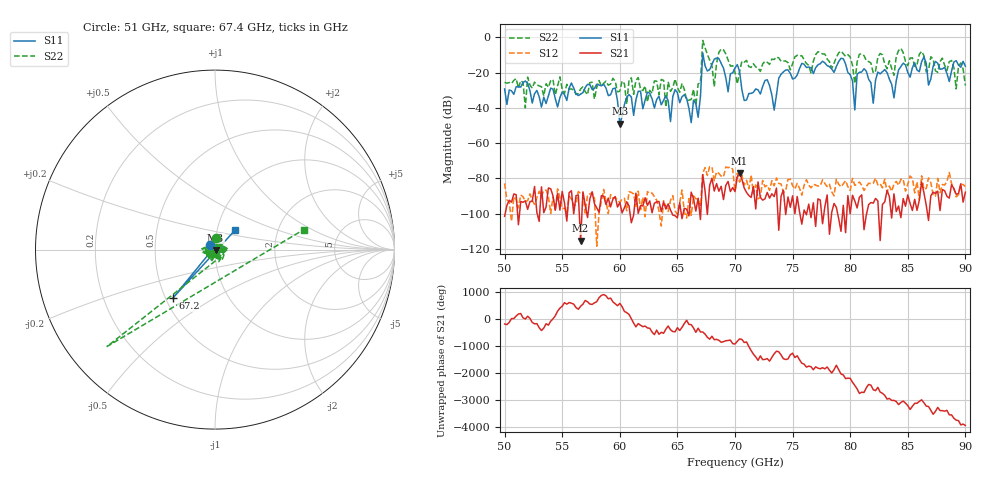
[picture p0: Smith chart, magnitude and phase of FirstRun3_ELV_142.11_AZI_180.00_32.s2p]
! 11/24/2026 3:41:09 PM
! C:\ANRITSUVNA\TEMP\TEMP.S2P
! CHANNEL.1
! TR.MEASUREMENT
! RAW.DATA
# HZ S RI R 50.0
! FREQ.HZ  S11RE  S11IM  S21RE  S21IM  S12RE  S12IM  S22RE  S22IM
!; PortSelection: Port_12
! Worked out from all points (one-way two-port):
!   201 points, 50 GHz to 90 GHz, reference 50 ohm
!   highest |S21| = -76.91 dB at 70.4 GHz (marker M1); lowest = -115.3 dB at 56.6 GHz (marker M2)
!   lowest |S11| = -49.0 dB at 60 GHz (marker M3), VSWR 1.01, Z = 50.3 - j0.16 ohm
!   |S11| at or under -10 dB: start of sweep to 67.19 GHz; 67.23 GHz to end of sweep
!   |S22| runs from -40.0 to -1.9 dB; largest |S21 - S12| = 0.00025
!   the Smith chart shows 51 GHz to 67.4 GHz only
!   S11 on the Smith chart (normalised r, x): 51 GHz: 0.94, +0.05; 67.2 GHz: 0.54, -0.34; 67.4 GHz: 1.22, +0.27
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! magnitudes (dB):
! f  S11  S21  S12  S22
! 50 GHz  -29.3  -101.5  -82.8  -25.6
! 51 GHz  -28.0  -89.2  -91.7  -23.4
! 56.6 GHz  -32.2  -115.3  -88.6  -29.3
! 56.8 GHz  -31.4  -87.6  -88.3  -28.1
! 59.6 GHz  -28.8  -90.2  -90.8  -25.0
! 60 GHz  -49.0  -93.6  -93.7  -30.6
! 63.4 GHz  -33.4  -93.0  -98.6  -32.6
! 66.8 GHz  -45.4  -91.1  -91.6  -26.5
! 67.2 GHz  -8.9  -77.8  -77.0  -1.9
! 67.4 GHz  -16.1  -87.1  -73.9  -5.9
! 68.2 GHz  -12.5  -87.1  -81.3  -28.0
! 68.8 GHz  -14.8  -84.4  -78.7  -6.7
! 70 GHz  -17.5  -87.4  -87.3  -19.9
! 70.4 GHz  -19.4  -76.9  -82.1  -19.3
! 73.4 GHz  -41.3  -90.3  -84.2  -12.6
! 74.2 GHz  -19.7  -86.7  -88.0  -13.5
! 76.8 GHz  -20.6  -93.8  -83.3  -13.6
! 79.4 GHz  -12.2  -95.2  -83.1  -9.4
! 80.4 GHz  -41.2  -92.8  -83.9  -26.2
! 80.6 GHz  -21.0  -96.7  -83.2  -14.0
! 83.4 GHz  -23.7  -90.2  -84.3  -13.3
! 90 GHz  -16.5  -87.8  -84.6  -27.3
